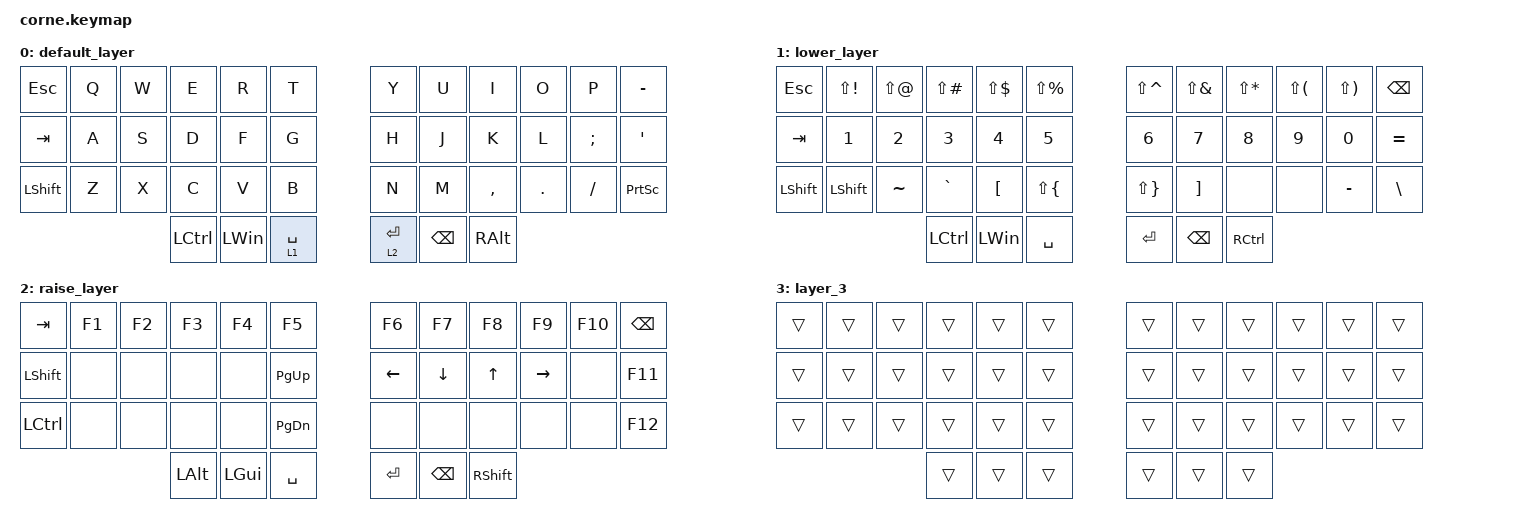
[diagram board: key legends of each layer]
/*
 * Copyright (c) 2020 The ZMK Contributors
 *
 * SPDX-License-Identifier: MIT
 */

#include <behaviors.dtsi>
#include <dt-bindings/zmk/keys.h>

/ {
    keymap {
        compatible = "zmk,keymap";

        default_layer {
            // -----------------------------------------------------------------------------------------
            // |  TAB |  Q  |  W  |  E  |  R  |  T  |   |  Y  |  U   |  I  |  O  |  P  | BKSP |
            // | CTRL |  A  |  S  |  D  |  F  |  G  |   |  H  |  J   |  K  |  L  |  ;  |  '   |
            // | SHFT |  Z  |  X  |  C  |  V  |  B  |   |  N  |  M   |  ,  |  .  |  /  | ESC  |
            //                    | GUI | LWR | SPC |   | ENT | RSE  | ALT |

            bindings = <
&kp ESCAPE      &kp Q  &kp W  &kp E             &kp R         &kp T          &kp Y        &kp U          &kp I          &kp O    &kp P     &kp MINUS
&kp TAB         &kp A  &kp S  &kp D             &kp F         &kp G          &kp H        &kp J          &kp K          &kp L    &kp SEMI  &kp SQT
&kp LEFT_SHIFT  &kp Z  &kp X  &kp C             &kp V         &kp B          &kp N        &kp M          &kp COMMA      &kp DOT  &kp FSLH  &kp PRINTSCREEN
                              &kp LEFT_CONTROL  &kp LEFT_WIN  &lt 1 SPACE    &lt 2 ENTER  &kp BACKSPACE  &kp RIGHT_ALT
            >;
        };

        lower_layer {
            // -----------------------------------------------------------------------------------------
            // |  TAB |  1  |  2  |  3  |  4  |  5  |   |  6  |  7  |  8  |  9  |  0  | BKSP |
            // | BTCLR| BT1 | BT2 | BT3 | BT4 | BT5 |   | LFT | DWN |  UP | RGT |     |      |
            // | SHFT |     |     |     |     |     |   |     |     |     |     |     |      |
            //                    | GUI |     | SPC |   | ENT |     | ALT |

            bindings = <
&kp ESCAPE      &kp LS(EXCL)    &kp LS(AT)  &kp LS(POUND)     &kp LS(DLLR)  &kp LS(PRCNT)    &kp LS(CARET)  &kp LS(AMPS)   &kp LS(STAR)       &kp LS(LPAR)  &kp LS(RPAR)  &kp BSPC
&kp TAB         &kp N1          &kp N2      &kp N3            &kp N4        &kp N5           &kp N6         &kp N7         &kp N8             &kp N9        &kp N0        &kp EQUAL
&kp LEFT_SHIFT  &kp LEFT_SHIFT  &kp TILDE   &kp GRAVE         &kp LBKT      &kp LS(LBRC)     &kp LS(RBRC)   &kp RBKT       &none              &none         &kp MINUS     &kp BACKSLASH
                                            &kp LEFT_CONTROL  &kp LEFT_WIN  &kp SPACE        &kp RET        &kp BACKSPACE  &kp RIGHT_CONTROL
            >;
        };

        raise_layer {
            // -----------------------------------------------------------------------------------------
            // |  TAB |  !  |  @  |  #  |  $  |  %  |   |  ^  |  &  |  *  |  (  |  )  | BKSP |
            // | CTRL |     |     |     |     |     |   |  -  |  =  |  [  |  ]  |  \  |  `   |
            // | SHFT |     |     |     |     |     |   |  _  |  +  |  {  |  }  | "|" |  ~   |
            //                    | GUI |     | SPC |   | ENT |     | ALT |

            bindings = <
&kp TAB           &kp F1  &kp F2  &kp F3        &kp F4        &kp F5           &kp F6    &kp F7         &kp F8           &kp F9     &kp F10  &kp BSPC
&kp LEFT_SHIFT    &none   &none   &none         &none         &kp PG_UP        &kp LEFT  &kp DOWN       &kp UP           &kp RIGHT  &none    &kp F11
&kp LEFT_CONTROL  &none   &none   &none         &none         &kp PAGE_DOWN    &none     &none          &none            &none      &none    &kp F12
                                  &kp LEFT_ALT  &kp LEFT_GUI  &kp SPACE        &kp RET   &kp BACKSPACE  &kp RIGHT_SHIFT
            >;
        };

        layer_3 {
            bindings = <
&trans  &trans  &trans  &trans  &trans  &trans    &trans  &trans  &trans  &trans  &trans  &trans
&trans  &trans  &trans  &trans  &trans  &trans    &trans  &trans  &trans  &trans  &trans  &trans
&trans  &trans  &trans  &trans  &trans  &trans    &trans  &trans  &trans  &trans  &trans  &trans
                        &trans  &trans  &trans    &trans  &trans  &trans
            >;
        };
    };
};
